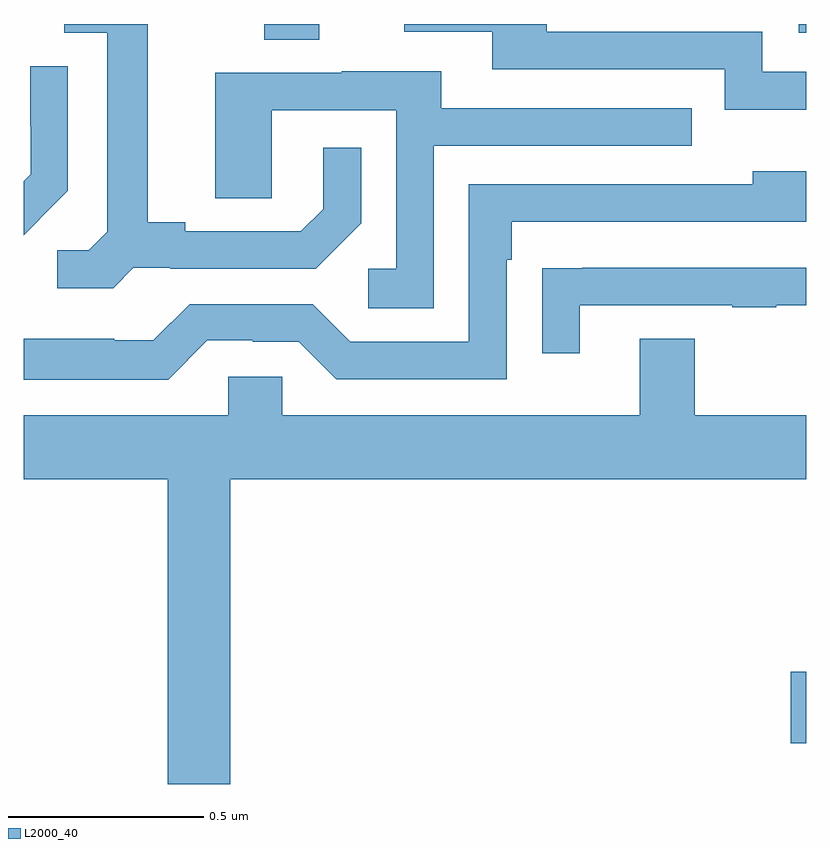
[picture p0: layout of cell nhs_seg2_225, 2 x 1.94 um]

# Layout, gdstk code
import gdstk
lib = gdstk.Library(unit=1e-6, precision=1e-09)
def R(c, l, rs):  # rectangles x0, y0, x1, y1
    for r in rs: c.add(gdstk.rectangle(r[:2], r[2:], *l))
def P(c, l, *ps):  # polygons
    for p in ps: c.add(gdstk.Polygon(p, *l))
L2000_40 = (2000, 40)

nhs_seg2_225 = lib.new_cell('nhs_seg2_225')
R(nhs_seg2_225, L2000_40, [(114.96,646.961,115,647.144), (113.615,648.76,113.755,648.8), (114.981,648.777,115,648.8)])
P(nhs_seg2_225, L2000_40, [(115,648.678),(114.888,648.678),(114.888,648.78),(114.337,648.78),(114.337,648.8),(113.973,648.8),(113.973,648.78),(114.197,648.78),(114.197,648.684),(114.792,648.684),(114.792,648.581),(115,648.581)],
  [(113.28,648.177),(113.374,648.177),(113.374,648.174),(113.746,648.174),(113.862,648.29),(113.862,648.484),(113.765,648.484),(113.765,648.327),(113.708,648.27),(113.413,648.27),(113.413,648.293),(113.317,648.293),(113.317,648.8),(113.103,648.8),(113.103,648.777),(113.213,648.777),(113.213,648.269),(113.166,648.222),(113.085,648.222),(113.085,648.125),(113.228,648.125)],
  [(113.04,648.3),(113.039,648.301),(113.112,648.374),(113.112,648.692),(113.016,648.692),(113.016,648.538),(113.018,648.538),(113.018,648.416),(113,648.398),(113,648.26)],
  [(114.048,648.489),(114.707,648.489),(114.707,648.585),(114.067,648.585),(114.067,648.679),(113.813,648.679),(113.813,648.675),(113.489,648.675),(113.489,648.355),(113.634,648.355),(113.634,648.579),(113.952,648.579),(113.952,648.174),(113.88,648.174),(113.88,648.073),(114.048,648.073)],
  [(113.469,647.991),(113.585,647.991),(113.585,647.988),(113.703,647.988),(113.799,647.892),(114.234,647.892),(114.234,648.197),(114.247,648.197),(114.247,648.294),(115,648.294),(115,648.424),(114.863,648.424),(114.863,648.39),(114.138,648.39),(114.138,647.988),(113.835,647.988),(113.739,648.084),(113.424,648.084),(113.331,647.991),(113.231,647.991),(113.231,647.995),(113,647.995),(113,647.891),(113.369,647.891)],
  [(114.421,648.081),(114.811,648.081),(114.811,648.076),(114.923,648.076),(114.923,648.081),(115,648.081),(115,648.177),(114.427,648.177),(114.427,648.176),(114.325,648.176),(114.325,647.958),(114.421,647.958)],
  [(113.528,647.636),(115,647.636),(115,647.8),(114.715,647.8),(114.715,647.995),(114.575,647.995),(114.575,647.8),(113.661,647.8),(113.661,647.898),(113.523,647.898),(113.523,647.8),(113,647.8),(113,647.636),(113.368,647.636),(113.368,646.857),(113.528,646.857)])

lib.write_gds('nhs_seg2_225.gds')
